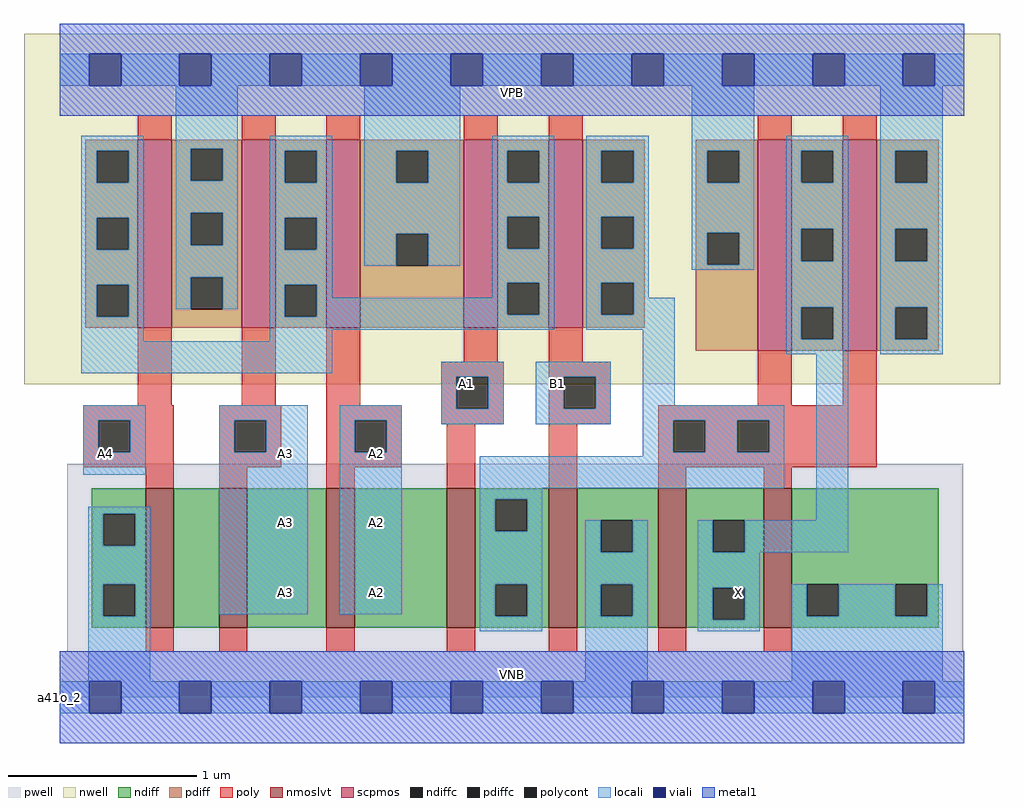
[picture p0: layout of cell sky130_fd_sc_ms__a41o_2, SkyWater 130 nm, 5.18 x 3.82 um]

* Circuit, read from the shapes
.subckt sky130_fd_sc_ms__a41o_2 A1 A2 A3 A4 B1 VGND VNB VPB VPWR X
XM1 n1 A4 VGND VNB sky130_fd_pr__nfet_01v8_lvt w=0.74 l=0.15
XM2 n2 A3 n1 VNB sky130_fd_pr__nfet_01v8_lvt w=0.74 l=0.15
XM3 n3 A2 n2 VNB sky130_fd_pr__nfet_01v8_lvt w=0.74 l=0.15
XM4 n4 A1 n3 VNB sky130_fd_pr__nfet_01v8_lvt w=0.74 l=0.15
XM5 VGND B1 n4 VNB sky130_fd_pr__nfet_01v8_lvt w=0.74 l=0.15
XM6 X n4 VGND VNB sky130_fd_pr__nfet_01v8_lvt w=0.74 l=0.15 m=2
XM7 VPWR A4 n5 VPB sky130_fd_pr__pfet_01v8 w=1 l=0.18
XM8 n5 A3 VPWR VPB sky130_fd_pr__pfet_01v8 w=1 l=0.18
XM9 VPWR A2 n5 VPB sky130_fd_pr__pfet_01v8 w=1 l=0.18
XM10 n5 A1 VPWR VPB sky130_fd_pr__pfet_01v8 w=1 l=0.18
XM11 n4 B1 n5 VPB sky130_fd_pr__pfet_01v8 w=1 l=0.18
XM12 X n4 VPWR VPB sky130_fd_pr__pfet_01v8 w=1.12 l=0.18 m=2
.ends

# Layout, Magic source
magic
tech sky130A
magscale 1 2
<< nwell >>
rect -38 332 998 704
<< pwell >>
rect 8 49 959 248
rect 0 0 960 49
<< scpmos >>
rect 83 392 119 592
rect 193 392 229 592
rect 283 392 319 592
rect 429 392 465 592
rect 519 392 555 592
rect 741 368 777 592
rect 831 368 867 592
<< nmoslvt >>
rect 91 74 121 222
rect 169 74 199 222
rect 283 74 313 222
rect 411 74 441 222
rect 519 74 549 222
rect 635 74 665 222
rect 747 74 777 222
<< ndiff >>
rect 34 195 91 222
rect 34 161 46 195
rect 80 161 91 195
rect 34 120 91 161
rect 34 86 46 120
rect 80 86 91 120
rect 34 74 91 86
rect 121 74 169 222
rect 199 74 283 222
rect 313 74 411 222
rect 441 210 519 222
rect 441 176 462 210
rect 496 176 519 210
rect 441 120 519 176
rect 441 86 462 120
rect 496 86 519 120
rect 441 74 519 86
rect 549 188 635 222
rect 549 154 574 188
rect 608 154 635 188
rect 549 120 635 154
rect 549 86 574 120
rect 608 86 635 120
rect 549 74 635 86
rect 665 188 747 222
rect 665 154 693 188
rect 727 154 747 188
rect 665 116 747 154
rect 665 82 693 116
rect 727 82 747 116
rect 665 74 747 82
rect 777 120 933 222
rect 777 86 793 120
rect 827 86 887 120
rect 921 86 933 120
rect 777 74 933 86
<< pdiff >>
rect 27 580 83 592
rect 27 546 39 580
rect 73 546 83 580
rect 27 509 83 546
rect 27 475 39 509
rect 73 475 83 509
rect 27 438 83 475
rect 27 404 39 438
rect 73 404 83 438
rect 27 392 83 404
rect 119 582 193 592
rect 119 548 139 582
rect 173 548 193 582
rect 119 514 193 548
rect 119 480 139 514
rect 173 480 193 514
rect 119 446 193 480
rect 119 412 139 446
rect 173 412 193 446
rect 119 392 193 412
rect 229 580 283 592
rect 229 546 239 580
rect 273 546 283 580
rect 229 509 283 546
rect 229 475 239 509
rect 273 475 283 509
rect 229 438 283 475
rect 229 404 239 438
rect 273 404 283 438
rect 229 392 283 404
rect 319 580 429 592
rect 319 546 357 580
rect 391 546 429 580
rect 319 492 429 546
rect 319 458 357 492
rect 391 458 429 492
rect 319 392 429 458
rect 465 580 519 592
rect 465 546 475 580
rect 509 546 519 580
rect 465 510 519 546
rect 465 476 475 510
rect 509 476 519 510
rect 465 440 519 476
rect 465 406 475 440
rect 509 406 519 440
rect 465 392 519 406
rect 555 580 621 592
rect 555 546 575 580
rect 609 546 621 580
rect 555 510 621 546
rect 555 476 575 510
rect 609 476 621 510
rect 555 440 621 476
rect 555 406 575 440
rect 609 406 621 440
rect 555 392 621 406
rect 675 580 741 592
rect 675 546 687 580
rect 721 546 741 580
rect 675 493 741 546
rect 675 459 687 493
rect 721 459 741 493
rect 675 368 741 459
rect 777 580 831 592
rect 777 546 787 580
rect 821 546 831 580
rect 777 497 831 546
rect 777 463 787 497
rect 821 463 831 497
rect 777 414 831 463
rect 777 380 787 414
rect 821 380 831 414
rect 777 368 831 380
rect 867 580 933 592
rect 867 546 887 580
rect 921 546 933 580
rect 867 497 933 546
rect 867 463 887 497
rect 921 463 933 497
rect 867 414 933 463
rect 867 380 887 414
rect 921 380 933 414
rect 867 368 933 380
<< ndiffc >>
rect 46 161 80 195
rect 46 86 80 120
rect 462 176 496 210
rect 462 86 496 120
rect 574 154 608 188
rect 574 86 608 120
rect 693 154 727 188
rect 693 82 727 116
rect 793 86 827 120
rect 887 86 921 120
<< pdiffc >>
rect 39 546 73 580
rect 39 475 73 509
rect 39 404 73 438
rect 139 548 173 582
rect 139 480 173 514
rect 139 412 173 446
rect 239 546 273 580
rect 239 475 273 509
rect 239 404 273 438
rect 357 546 391 580
rect 357 458 391 492
rect 475 546 509 580
rect 475 476 509 510
rect 475 406 509 440
rect 575 546 609 580
rect 575 476 609 510
rect 575 406 609 440
rect 687 546 721 580
rect 687 459 721 493
rect 787 546 821 580
rect 787 463 821 497
rect 787 380 821 414
rect 887 546 921 580
rect 887 463 921 497
rect 887 380 921 414
<< poly >>
rect 83 592 119 618
rect 193 592 229 618
rect 283 592 319 618
rect 429 592 465 618
rect 519 592 555 618
rect 741 592 777 618
rect 831 592 867 618
rect 83 310 119 392
rect 193 310 229 392
rect 283 310 319 392
rect 429 356 465 392
rect 519 356 555 392
rect 405 340 471 356
rect 25 294 121 310
rect 25 260 41 294
rect 75 260 121 294
rect 25 244 121 260
rect 91 222 121 244
rect 169 294 235 310
rect 169 260 185 294
rect 219 260 235 294
rect 169 244 235 260
rect 283 294 363 310
rect 283 260 313 294
rect 347 260 363 294
rect 405 306 421 340
rect 455 306 471 340
rect 405 290 471 306
rect 519 340 585 356
rect 519 306 535 340
rect 569 306 585 340
rect 741 310 777 368
rect 831 310 867 368
rect 519 290 585 306
rect 635 294 867 310
rect 283 244 363 260
rect 169 222 199 244
rect 283 222 313 244
rect 411 222 441 290
rect 519 222 549 290
rect 635 260 651 294
rect 685 260 719 294
rect 753 260 867 294
rect 635 244 867 260
rect 635 222 665 244
rect 747 222 777 244
rect 91 48 121 74
rect 169 48 199 74
rect 283 48 313 74
rect 411 48 441 74
rect 519 48 549 74
rect 635 48 665 74
rect 747 48 777 74
<< polycont >>
rect 41 260 75 294
rect 185 260 219 294
rect 313 260 347 294
rect 421 306 455 340
rect 535 306 569 340
rect 651 260 685 294
rect 719 260 753 294
<< locali >>
rect 0 649 31 683
rect 65 649 127 683
rect 161 649 223 683
rect 257 649 319 683
rect 353 649 415 683
rect 449 649 511 683
rect 545 649 607 683
rect 641 649 703 683
rect 737 649 799 683
rect 833 649 895 683
rect 929 649 960 683
rect 23 580 89 596
rect 23 546 39 580
rect 73 546 89 580
rect 23 509 89 546
rect 23 475 39 509
rect 73 475 89 509
rect 23 438 89 475
rect 23 404 39 438
rect 73 404 89 438
rect 123 582 189 649
rect 123 548 139 582
rect 173 548 189 582
rect 123 514 189 548
rect 123 480 139 514
rect 173 480 189 514
rect 123 446 189 480
rect 123 412 139 446
rect 173 412 189 446
rect 223 580 289 596
rect 223 546 239 580
rect 273 546 289 580
rect 223 509 289 546
rect 223 475 239 509
rect 273 475 289 509
rect 223 438 289 475
rect 323 580 425 649
rect 323 546 357 580
rect 391 546 425 580
rect 323 492 425 546
rect 323 458 357 492
rect 391 458 425 492
rect 459 580 525 596
rect 459 546 475 580
rect 509 546 525 580
rect 459 510 525 546
rect 459 476 475 510
rect 509 476 525 510
rect 23 378 89 404
rect 223 404 239 438
rect 273 424 289 438
rect 459 440 525 476
rect 459 424 475 440
rect 273 406 475 424
rect 509 406 525 440
rect 273 404 525 406
rect 223 390 525 404
rect 559 580 625 596
rect 559 546 575 580
rect 609 546 625 580
rect 559 510 625 546
rect 559 476 575 510
rect 609 476 625 510
rect 559 440 625 476
rect 671 580 737 649
rect 671 546 687 580
rect 721 546 737 580
rect 671 493 737 546
rect 671 459 687 493
rect 721 459 737 493
rect 671 454 737 459
rect 771 580 837 596
rect 771 546 787 580
rect 821 546 837 580
rect 771 497 837 546
rect 771 463 787 497
rect 821 463 837 497
rect 559 406 575 440
rect 609 424 625 440
rect 609 406 653 424
rect 559 390 653 406
rect 223 378 289 390
rect 23 344 289 378
rect 405 340 471 356
rect 25 294 91 310
rect 25 260 41 294
rect 75 260 91 294
rect 25 236 91 260
rect 169 294 263 310
rect 169 260 185 294
rect 219 260 263 294
rect 30 195 96 202
rect 30 161 46 195
rect 80 161 96 195
rect 30 120 96 161
rect 30 86 46 120
rect 80 86 96 120
rect 169 88 263 260
rect 297 294 363 310
rect 297 260 313 294
rect 347 260 363 294
rect 405 306 421 340
rect 455 306 471 340
rect 405 290 471 306
rect 505 340 585 356
rect 505 306 535 340
rect 569 306 585 340
rect 505 290 585 306
rect 619 310 653 390
rect 771 414 837 463
rect 771 380 787 414
rect 821 380 837 414
rect 771 364 837 380
rect 871 580 937 649
rect 871 546 887 580
rect 921 546 937 580
rect 871 497 937 546
rect 871 463 887 497
rect 921 463 937 497
rect 871 414 937 463
rect 871 380 887 414
rect 921 380 937 414
rect 871 364 937 380
rect 619 294 769 310
rect 297 88 363 260
rect 619 260 651 294
rect 685 260 719 294
rect 753 260 769 294
rect 619 256 769 260
rect 446 222 769 256
rect 446 210 512 222
rect 446 176 462 210
rect 496 176 512 210
rect 803 188 837 364
rect 446 120 512 176
rect 30 17 96 86
rect 446 86 462 120
rect 496 86 512 120
rect 446 70 512 86
rect 558 154 574 188
rect 608 154 624 188
rect 558 120 624 154
rect 558 86 574 120
rect 608 86 624 120
rect 558 17 624 86
rect 677 154 693 188
rect 727 154 837 188
rect 677 116 743 154
rect 677 82 693 116
rect 727 82 743 116
rect 677 70 743 82
rect 777 86 793 120
rect 827 86 887 120
rect 921 86 937 120
rect 777 17 937 86
rect 0 -17 31 17
rect 65 -17 127 17
rect 161 -17 223 17
rect 257 -17 319 17
rect 353 -17 415 17
rect 449 -17 511 17
rect 545 -17 607 17
rect 641 -17 703 17
rect 737 -17 799 17
rect 833 -17 895 17
rect 929 -17 960 17
<< viali >>
rect 31 649 65 683
rect 127 649 161 683
rect 223 649 257 683
rect 319 649 353 683
rect 415 649 449 683
rect 511 649 545 683
rect 607 649 641 683
rect 703 649 737 683
rect 799 649 833 683
rect 895 649 929 683
rect 31 -17 65 17
rect 127 -17 161 17
rect 223 -17 257 17
rect 319 -17 353 17
rect 415 -17 449 17
rect 511 -17 545 17
rect 607 -17 641 17
rect 703 -17 737 17
rect 799 -17 833 17
rect 895 -17 929 17
<< metal1 >>
rect 0 683 960 715
rect 0 649 31 683
rect 65 649 127 683
rect 161 649 223 683
rect 257 649 319 683
rect 353 649 415 683
rect 449 649 511 683
rect 545 649 607 683
rect 641 649 703 683
rect 737 649 799 683
rect 833 649 895 683
rect 929 649 960 683
rect 0 617 960 649
rect 0 17 960 49
rect 0 -17 31 17
rect 65 -17 127 17
rect 161 -17 223 17
rect 257 -17 319 17
rect 353 -17 415 17
rect 449 -17 511 17
rect 545 -17 607 17
rect 641 -17 703 17
rect 737 -17 799 17
rect 833 -17 895 17
rect 929 -17 960 17
rect 0 -49 960 -17
<< labels >>
flabel pwell s 0 0 960 49 0 FreeSans 200 0 0 0 VNB
port 7 nsew ground bidirectional
flabel nwell s 0 617 960 666 0 FreeSans 200 0 0 0 VPB
port 8 nsew power bidirectional
rlabel comment s 0 0 0 0 4 a41o_2
flabel metal1 s 0 617 960 666 0 FreeSans 340 0 0 0 VPWR
port 9 nsew power bidirectional
flabel metal1 s 0 0 960 49 0 FreeSans 340 0 0 0 VGND
port 6 nsew ground bidirectional
flabel locali s 415 316 449 350 0 FreeSans 340 0 0 0 A1
port 1 nsew signal input
flabel locali s 319 94 353 128 0 FreeSans 340 0 0 0 A2
port 2 nsew signal input
flabel locali s 319 168 353 202 0 FreeSans 340 0 0 0 A2
port 2 nsew signal input
flabel locali s 319 242 353 276 0 FreeSans 340 0 0 0 A2
port 2 nsew signal input
flabel locali s 223 94 257 128 0 FreeSans 340 0 0 0 A3
port 3 nsew signal input
flabel locali s 223 168 257 202 0 FreeSans 340 0 0 0 A3
port 3 nsew signal input
flabel locali s 223 242 257 276 0 FreeSans 340 0 0 0 A3
port 3 nsew signal input
flabel locali s 31 242 65 276 0 FreeSans 340 0 0 0 A4
port 4 nsew signal input
flabel locali s 511 316 545 350 0 FreeSans 340 0 0 0 B1
port 5 nsew signal input
flabel locali s 703 94 737 128 0 FreeSans 340 0 0 0 X
port 10 nsew signal output
<< properties >>
string LEFsite unit
string LEFclass CORE
string FIXED_BBOX 0 0 960 666
string GDS_FILE $PDKPATH/libs.ref/sky130_fd_sc_ms/gds/sky130_fd_sc_ms.gds
string LEFsymmetry X Y
string GDS_END 3509312
string GDS_START 3500792
<< end >>
